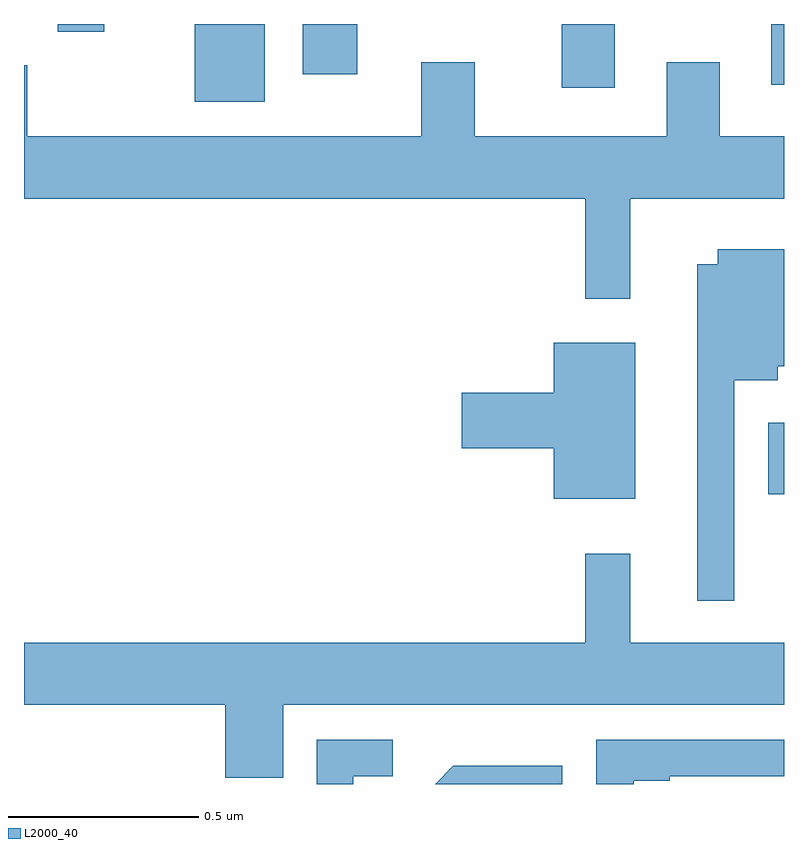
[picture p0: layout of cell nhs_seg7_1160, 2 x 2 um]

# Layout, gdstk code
import gdstk
lib = gdstk.Library(unit=1e-6, precision=1e-09)
def R(c, l, rs):  # rectangles x0, y0, x1, y1
    for r in rs: c.add(gdstk.rectangle(r[:2], r[2:], *l))
def P(c, l, *ps):  # polygons
    for p in ps: c.add(gdstk.Polygon(p, *l))
L2000_40 = (2000, 40)

nhs_seg7_1160 = lib.new_cell('nhs_seg7_1160')
R(nhs_seg7_1160, L2000_40, [(127.958,1075.763,128,1075.951), (126.449,1076.795,126.634,1077), (127.415,1076.832,127.555,1077), (127.967,1076.84,128,1077), (126.734,1076.868,126.877,1077), (126.089,1076.979,126.211,1077)])
P(nhs_seg7_1160, L2000_40, [(127.596,1076.54),(128,1076.54),(128,1076.704),(127.831,1076.704),(127.831,1076.899),(127.691,1076.899),(127.691,1076.704),(127.186,1076.704),(127.186,1076.899),(127.046,1076.899),(127.046,1076.704),(126.009,1076.704),(126.009,1076.892),(126,1076.892),(126,1076.54),(127.477,1076.54),(127.477,1076.277),(127.596,1076.277)],
  [(127.869,1076.063),(127.984,1076.063),(127.984,1076.099),(128,1076.099),(128,1076.407),(127.826,1076.407),(127.826,1076.368),(127.772,1076.368),(127.772,1075.482),(127.869,1075.482)],
  [(127.609,1076.161),(127.394,1076.161),(127.394,1076.03),(127.152,1076.03),(127.152,1075.883),(127.394,1075.883),(127.394,1075.751),(127.609,1075.751)],
  [(126.682,1075.208),(128,1075.208),(128,1075.372),(127.595,1075.372),(127.595,1075.606),(127.477,1075.606),(127.477,1075.372),(126,1075.372),(126,1075.208),(126.53,1075.208),(126.53,1075.016),(126.682,1075.016)],
  [(126.867,1075.02),(126.97,1075.02),(126.97,1075.116),(126.771,1075.116),(126.771,1075),(126.867,1075)],
  [(127.605,1075.008),(127.699,1075.008),(127.699,1075.02),(128,1075.02),(128,1075.116),(127.506,1075.116),(127.506,1075),(127.605,1075)],
  [(127.417,1075.048),(127.129,1075.048),(127.082,1075),(127.417,1075)])

lib.write_gds('nhs_seg7_1160.gds')
